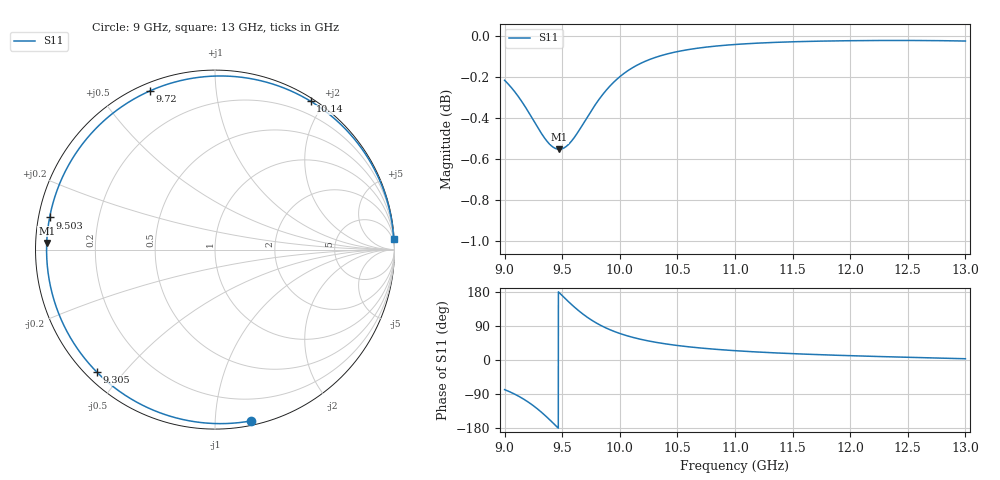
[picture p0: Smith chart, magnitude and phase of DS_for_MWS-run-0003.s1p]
! TOUCHSTONE file generated by CST DESIGN STUDIO
! Date and time: Tue Feb  4 14:13:20 2025
! Project name: C:\Work\MatlabApps\UnitCellOptimizationMatlab\CST\unitcell.cst
! Tree item: Tasks\Sweep1\SPara1\S-Parameters
! Header version: 2024
! Port assignment regex: !\s*Touchstone port\s*([0-9]+)\s*=\s*(CST MWS port|CST DES external port|CST DES block port)\s*(.+)\s* \(\"(.*)\"\)(\s*mode\s*([0-9]+))?.*
! Touchstone port assignment:
! Touchstone port 1 = CST DES external port 1 ("")
# GHz S MA R 50
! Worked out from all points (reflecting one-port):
!   4001 points, 9 GHz to 13 GHz, reference 50 ohm
!   lowest |S11| = -0.6 dB at 9.474 GHz (marker M1), VSWR 31.45, Z = 1.59 + j0.996 ohm
!   phase of S11 starts at -78 deg and turns -279 deg over the sweep
!   S11 on the Smith chart (normalised r, x): 9 GHz: 0.03, -1.23; 9.305 GHz: 0.03, -0.42; 9.503 GHz: 0.03, +0.10; 9.72 GHz: 0.03, +0.67; 10.14 GHz: 0.04, +1.83; 13 GHz: 2, +35
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9  0.9753 -78.2
9.076  0.97 -88.4
9.173  0.9615 -104.7
9.241  0.9546 -118.7
9.305  0.9481 -134.0
9.349  0.9441 -145.7
9.396  0.9407 -159.0
9.436  0.9389 -170.9
9.474  0.9384 177.7
9.5  0.9386 169.9
9.503  0.9387 169.0
9.555  0.9409 153.7
9.615  0.9454 137.2
9.667  0.9503 124.2
9.72  0.9556 112.3
9.775  0.9609 101.5
9.837  0.9664 90.9
9.917  0.9723 79.6
10  0.9772 70.0
10.145  0.9834 57.2
10.305  0.9878 47.1
10.5  0.9911 38.3
10.722  0.9934 31.1
11  0.995 24.6
11.5  0.9965 16.8
12  0.9971 11.4
12.5  0.9973 7.1
13  0.997 3.3
